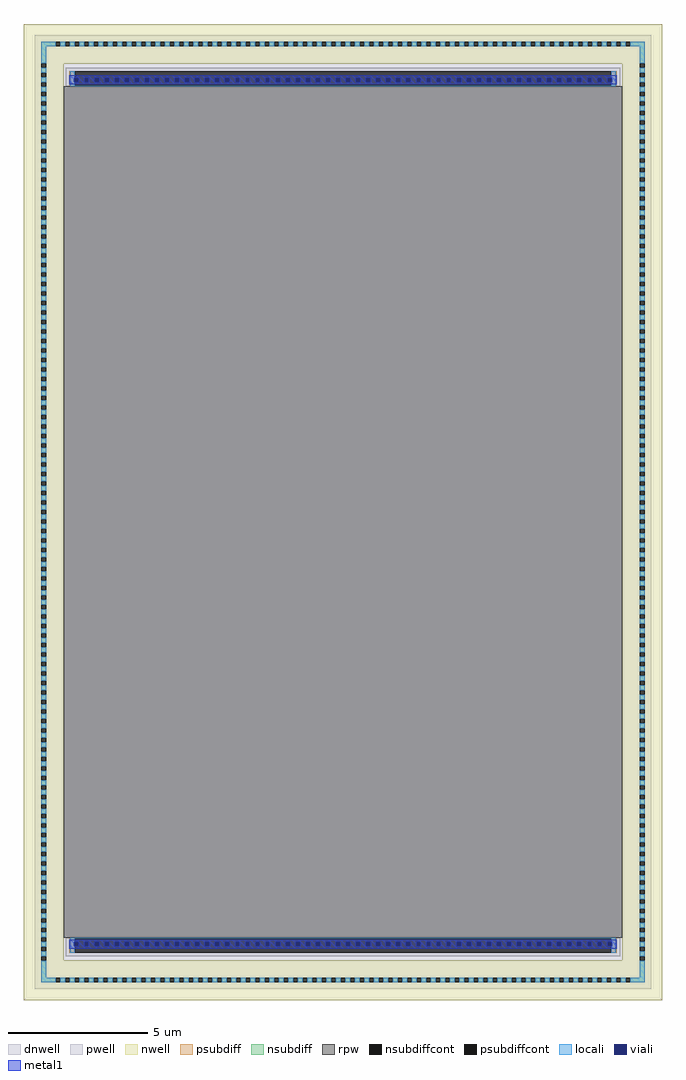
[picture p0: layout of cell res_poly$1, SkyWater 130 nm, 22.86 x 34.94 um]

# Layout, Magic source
magic
tech sky130A
magscale 1 2
<< dnwell >>
rect -2206 -3414 2206 3414
<< nwell >>
rect -2286 3208 2286 3494
rect -2286 -3208 -2000 3208
rect 2000 -3208 2286 3208
rect -2286 -3494 2286 -3208
<< pwell >>
rect -1986 3050 1986 3182
rect -1986 -3182 1986 -3050
<< rpw >>
rect -2000 -3050 2000 3050
<< psubdiff >>
rect -1960 3154 1960 3156
rect -1960 3052 -1921 3154
rect 1921 3052 1960 3154
rect -1960 3050 1960 3052
rect -1960 -3052 1960 -3050
rect -1960 -3154 -1921 -3052
rect 1921 -3154 1960 -3052
rect -1960 -3156 1960 -3154
<< nsubdiff >>
rect -2160 3334 -2057 3368
rect -2023 3334 -1989 3368
rect -1955 3334 -1921 3368
rect -1887 3334 -1853 3368
rect -1819 3334 -1785 3368
rect -1751 3334 -1717 3368
rect -1683 3334 -1649 3368
rect -1615 3334 -1581 3368
rect -1547 3334 -1513 3368
rect -1479 3334 -1445 3368
rect -1411 3334 -1377 3368
rect -1343 3334 -1309 3368
rect -1275 3334 -1241 3368
rect -1207 3334 -1173 3368
rect -1139 3334 -1105 3368
rect -1071 3334 -1037 3368
rect -1003 3334 -969 3368
rect -935 3334 -901 3368
rect -867 3334 -833 3368
rect -799 3334 -765 3368
rect -731 3334 -697 3368
rect -663 3334 -629 3368
rect -595 3334 -561 3368
rect -527 3334 -493 3368
rect -459 3334 -425 3368
rect -391 3334 -357 3368
rect -323 3334 -289 3368
rect -255 3334 -221 3368
rect -187 3334 -153 3368
rect -119 3334 -85 3368
rect -51 3334 -17 3368
rect 17 3334 51 3368
rect 85 3334 119 3368
rect 153 3334 187 3368
rect 221 3334 255 3368
rect 289 3334 323 3368
rect 357 3334 391 3368
rect 425 3334 459 3368
rect 493 3334 527 3368
rect 561 3334 595 3368
rect 629 3334 663 3368
rect 697 3334 731 3368
rect 765 3334 799 3368
rect 833 3334 867 3368
rect 901 3334 935 3368
rect 969 3334 1003 3368
rect 1037 3334 1071 3368
rect 1105 3334 1139 3368
rect 1173 3334 1207 3368
rect 1241 3334 1275 3368
rect 1309 3334 1343 3368
rect 1377 3334 1411 3368
rect 1445 3334 1479 3368
rect 1513 3334 1547 3368
rect 1581 3334 1615 3368
rect 1649 3334 1683 3368
rect 1717 3334 1751 3368
rect 1785 3334 1819 3368
rect 1853 3334 1887 3368
rect 1921 3334 1955 3368
rect 1989 3334 2023 3368
rect 2057 3334 2160 3368
rect -2160 3213 -2126 3334
rect -2160 3145 -2126 3179
rect 2126 3213 2160 3334
rect -2160 3077 -2126 3111
rect 2126 3145 2160 3179
rect 2126 3077 2160 3111
rect -2160 3009 -2126 3043
rect -2160 2941 -2126 2975
rect -2160 2873 -2126 2907
rect -2160 2805 -2126 2839
rect -2160 2737 -2126 2771
rect -2160 2669 -2126 2703
rect -2160 2601 -2126 2635
rect -2160 2533 -2126 2567
rect -2160 2465 -2126 2499
rect -2160 2397 -2126 2431
rect -2160 2329 -2126 2363
rect -2160 2261 -2126 2295
rect -2160 2193 -2126 2227
rect -2160 2125 -2126 2159
rect -2160 2057 -2126 2091
rect -2160 1989 -2126 2023
rect -2160 1921 -2126 1955
rect -2160 1853 -2126 1887
rect -2160 1785 -2126 1819
rect -2160 1717 -2126 1751
rect -2160 1649 -2126 1683
rect -2160 1581 -2126 1615
rect -2160 1513 -2126 1547
rect -2160 1445 -2126 1479
rect -2160 1377 -2126 1411
rect -2160 1309 -2126 1343
rect -2160 1241 -2126 1275
rect -2160 1173 -2126 1207
rect -2160 1105 -2126 1139
rect -2160 1037 -2126 1071
rect -2160 969 -2126 1003
rect -2160 901 -2126 935
rect -2160 833 -2126 867
rect -2160 765 -2126 799
rect -2160 697 -2126 731
rect -2160 629 -2126 663
rect -2160 561 -2126 595
rect -2160 493 -2126 527
rect -2160 425 -2126 459
rect -2160 357 -2126 391
rect -2160 289 -2126 323
rect -2160 221 -2126 255
rect -2160 153 -2126 187
rect -2160 85 -2126 119
rect -2160 17 -2126 51
rect -2160 -51 -2126 -17
rect -2160 -119 -2126 -85
rect -2160 -187 -2126 -153
rect -2160 -255 -2126 -221
rect -2160 -323 -2126 -289
rect -2160 -391 -2126 -357
rect -2160 -459 -2126 -425
rect -2160 -527 -2126 -493
rect -2160 -595 -2126 -561
rect -2160 -663 -2126 -629
rect -2160 -731 -2126 -697
rect -2160 -799 -2126 -765
rect -2160 -867 -2126 -833
rect -2160 -935 -2126 -901
rect -2160 -1003 -2126 -969
rect -2160 -1071 -2126 -1037
rect -2160 -1139 -2126 -1105
rect -2160 -1207 -2126 -1173
rect -2160 -1275 -2126 -1241
rect -2160 -1343 -2126 -1309
rect -2160 -1411 -2126 -1377
rect -2160 -1479 -2126 -1445
rect -2160 -1547 -2126 -1513
rect -2160 -1615 -2126 -1581
rect -2160 -1683 -2126 -1649
rect -2160 -1751 -2126 -1717
rect -2160 -1819 -2126 -1785
rect -2160 -1887 -2126 -1853
rect -2160 -1955 -2126 -1921
rect -2160 -2023 -2126 -1989
rect -2160 -2091 -2126 -2057
rect -2160 -2159 -2126 -2125
rect -2160 -2227 -2126 -2193
rect -2160 -2295 -2126 -2261
rect -2160 -2363 -2126 -2329
rect -2160 -2431 -2126 -2397
rect -2160 -2499 -2126 -2465
rect -2160 -2567 -2126 -2533
rect -2160 -2635 -2126 -2601
rect -2160 -2703 -2126 -2669
rect -2160 -2771 -2126 -2737
rect -2160 -2839 -2126 -2805
rect -2160 -2907 -2126 -2873
rect -2160 -2975 -2126 -2941
rect -2160 -3043 -2126 -3009
rect 2126 3009 2160 3043
rect 2126 2941 2160 2975
rect 2126 2873 2160 2907
rect 2126 2805 2160 2839
rect 2126 2737 2160 2771
rect 2126 2669 2160 2703
rect 2126 2601 2160 2635
rect 2126 2533 2160 2567
rect 2126 2465 2160 2499
rect 2126 2397 2160 2431
rect 2126 2329 2160 2363
rect 2126 2261 2160 2295
rect 2126 2193 2160 2227
rect 2126 2125 2160 2159
rect 2126 2057 2160 2091
rect 2126 1989 2160 2023
rect 2126 1921 2160 1955
rect 2126 1853 2160 1887
rect 2126 1785 2160 1819
rect 2126 1717 2160 1751
rect 2126 1649 2160 1683
rect 2126 1581 2160 1615
rect 2126 1513 2160 1547
rect 2126 1445 2160 1479
rect 2126 1377 2160 1411
rect 2126 1309 2160 1343
rect 2126 1241 2160 1275
rect 2126 1173 2160 1207
rect 2126 1105 2160 1139
rect 2126 1037 2160 1071
rect 2126 969 2160 1003
rect 2126 901 2160 935
rect 2126 833 2160 867
rect 2126 765 2160 799
rect 2126 697 2160 731
rect 2126 629 2160 663
rect 2126 561 2160 595
rect 2126 493 2160 527
rect 2126 425 2160 459
rect 2126 357 2160 391
rect 2126 289 2160 323
rect 2126 221 2160 255
rect 2126 153 2160 187
rect 2126 85 2160 119
rect 2126 17 2160 51
rect 2126 -51 2160 -17
rect 2126 -119 2160 -85
rect 2126 -187 2160 -153
rect 2126 -255 2160 -221
rect 2126 -323 2160 -289
rect 2126 -391 2160 -357
rect 2126 -459 2160 -425
rect 2126 -527 2160 -493
rect 2126 -595 2160 -561
rect 2126 -663 2160 -629
rect 2126 -731 2160 -697
rect 2126 -799 2160 -765
rect 2126 -867 2160 -833
rect 2126 -935 2160 -901
rect 2126 -1003 2160 -969
rect 2126 -1071 2160 -1037
rect 2126 -1139 2160 -1105
rect 2126 -1207 2160 -1173
rect 2126 -1275 2160 -1241
rect 2126 -1343 2160 -1309
rect 2126 -1411 2160 -1377
rect 2126 -1479 2160 -1445
rect 2126 -1547 2160 -1513
rect 2126 -1615 2160 -1581
rect 2126 -1683 2160 -1649
rect 2126 -1751 2160 -1717
rect 2126 -1819 2160 -1785
rect 2126 -1887 2160 -1853
rect 2126 -1955 2160 -1921
rect 2126 -2023 2160 -1989
rect 2126 -2091 2160 -2057
rect 2126 -2159 2160 -2125
rect 2126 -2227 2160 -2193
rect 2126 -2295 2160 -2261
rect 2126 -2363 2160 -2329
rect 2126 -2431 2160 -2397
rect 2126 -2499 2160 -2465
rect 2126 -2567 2160 -2533
rect 2126 -2635 2160 -2601
rect 2126 -2703 2160 -2669
rect 2126 -2771 2160 -2737
rect 2126 -2839 2160 -2805
rect 2126 -2907 2160 -2873
rect 2126 -2975 2160 -2941
rect 2126 -3043 2160 -3009
rect -2160 -3111 -2126 -3077
rect -2160 -3179 -2126 -3145
rect 2126 -3111 2160 -3077
rect -2160 -3334 -2126 -3213
rect 2126 -3179 2160 -3145
rect 2126 -3334 2160 -3213
rect -2160 -3368 -2057 -3334
rect -2023 -3368 -1989 -3334
rect -1955 -3368 -1921 -3334
rect -1887 -3368 -1853 -3334
rect -1819 -3368 -1785 -3334
rect -1751 -3368 -1717 -3334
rect -1683 -3368 -1649 -3334
rect -1615 -3368 -1581 -3334
rect -1547 -3368 -1513 -3334
rect -1479 -3368 -1445 -3334
rect -1411 -3368 -1377 -3334
rect -1343 -3368 -1309 -3334
rect -1275 -3368 -1241 -3334
rect -1207 -3368 -1173 -3334
rect -1139 -3368 -1105 -3334
rect -1071 -3368 -1037 -3334
rect -1003 -3368 -969 -3334
rect -935 -3368 -901 -3334
rect -867 -3368 -833 -3334
rect -799 -3368 -765 -3334
rect -731 -3368 -697 -3334
rect -663 -3368 -629 -3334
rect -595 -3368 -561 -3334
rect -527 -3368 -493 -3334
rect -459 -3368 -425 -3334
rect -391 -3368 -357 -3334
rect -323 -3368 -289 -3334
rect -255 -3368 -221 -3334
rect -187 -3368 -153 -3334
rect -119 -3368 -85 -3334
rect -51 -3368 -17 -3334
rect 17 -3368 51 -3334
rect 85 -3368 119 -3334
rect 153 -3368 187 -3334
rect 221 -3368 255 -3334
rect 289 -3368 323 -3334
rect 357 -3368 391 -3334
rect 425 -3368 459 -3334
rect 493 -3368 527 -3334
rect 561 -3368 595 -3334
rect 629 -3368 663 -3334
rect 697 -3368 731 -3334
rect 765 -3368 799 -3334
rect 833 -3368 867 -3334
rect 901 -3368 935 -3334
rect 969 -3368 1003 -3334
rect 1037 -3368 1071 -3334
rect 1105 -3368 1139 -3334
rect 1173 -3368 1207 -3334
rect 1241 -3368 1275 -3334
rect 1309 -3368 1343 -3334
rect 1377 -3368 1411 -3334
rect 1445 -3368 1479 -3334
rect 1513 -3368 1547 -3334
rect 1581 -3368 1615 -3334
rect 1649 -3368 1683 -3334
rect 1717 -3368 1751 -3334
rect 1785 -3368 1819 -3334
rect 1853 -3368 1887 -3334
rect 1921 -3368 1955 -3334
rect 1989 -3368 2023 -3334
rect 2057 -3368 2160 -3334
<< psubdiffcont >>
rect -1921 3052 1921 3154
rect -1921 -3154 1921 -3052
<< nsubdiffcont >>
rect -2057 3334 -2023 3368
rect -1989 3334 -1955 3368
rect -1921 3334 -1887 3368
rect -1853 3334 -1819 3368
rect -1785 3334 -1751 3368
rect -1717 3334 -1683 3368
rect -1649 3334 -1615 3368
rect -1581 3334 -1547 3368
rect -1513 3334 -1479 3368
rect -1445 3334 -1411 3368
rect -1377 3334 -1343 3368
rect -1309 3334 -1275 3368
rect -1241 3334 -1207 3368
rect -1173 3334 -1139 3368
rect -1105 3334 -1071 3368
rect -1037 3334 -1003 3368
rect -969 3334 -935 3368
rect -901 3334 -867 3368
rect -833 3334 -799 3368
rect -765 3334 -731 3368
rect -697 3334 -663 3368
rect -629 3334 -595 3368
rect -561 3334 -527 3368
rect -493 3334 -459 3368
rect -425 3334 -391 3368
rect -357 3334 -323 3368
rect -289 3334 -255 3368
rect -221 3334 -187 3368
rect -153 3334 -119 3368
rect -85 3334 -51 3368
rect -17 3334 17 3368
rect 51 3334 85 3368
rect 119 3334 153 3368
rect 187 3334 221 3368
rect 255 3334 289 3368
rect 323 3334 357 3368
rect 391 3334 425 3368
rect 459 3334 493 3368
rect 527 3334 561 3368
rect 595 3334 629 3368
rect 663 3334 697 3368
rect 731 3334 765 3368
rect 799 3334 833 3368
rect 867 3334 901 3368
rect 935 3334 969 3368
rect 1003 3334 1037 3368
rect 1071 3334 1105 3368
rect 1139 3334 1173 3368
rect 1207 3334 1241 3368
rect 1275 3334 1309 3368
rect 1343 3334 1377 3368
rect 1411 3334 1445 3368
rect 1479 3334 1513 3368
rect 1547 3334 1581 3368
rect 1615 3334 1649 3368
rect 1683 3334 1717 3368
rect 1751 3334 1785 3368
rect 1819 3334 1853 3368
rect 1887 3334 1921 3368
rect 1955 3334 1989 3368
rect 2023 3334 2057 3368
rect -2160 3179 -2126 3213
rect 2126 3179 2160 3213
rect -2160 3111 -2126 3145
rect -2160 3043 -2126 3077
rect 2126 3111 2160 3145
rect -2160 2975 -2126 3009
rect -2160 2907 -2126 2941
rect -2160 2839 -2126 2873
rect -2160 2771 -2126 2805
rect -2160 2703 -2126 2737
rect -2160 2635 -2126 2669
rect -2160 2567 -2126 2601
rect -2160 2499 -2126 2533
rect -2160 2431 -2126 2465
rect -2160 2363 -2126 2397
rect -2160 2295 -2126 2329
rect -2160 2227 -2126 2261
rect -2160 2159 -2126 2193
rect -2160 2091 -2126 2125
rect -2160 2023 -2126 2057
rect -2160 1955 -2126 1989
rect -2160 1887 -2126 1921
rect -2160 1819 -2126 1853
rect -2160 1751 -2126 1785
rect -2160 1683 -2126 1717
rect -2160 1615 -2126 1649
rect -2160 1547 -2126 1581
rect -2160 1479 -2126 1513
rect -2160 1411 -2126 1445
rect -2160 1343 -2126 1377
rect -2160 1275 -2126 1309
rect -2160 1207 -2126 1241
rect -2160 1139 -2126 1173
rect -2160 1071 -2126 1105
rect -2160 1003 -2126 1037
rect -2160 935 -2126 969
rect -2160 867 -2126 901
rect -2160 799 -2126 833
rect -2160 731 -2126 765
rect -2160 663 -2126 697
rect -2160 595 -2126 629
rect -2160 527 -2126 561
rect -2160 459 -2126 493
rect -2160 391 -2126 425
rect -2160 323 -2126 357
rect -2160 255 -2126 289
rect -2160 187 -2126 221
rect -2160 119 -2126 153
rect -2160 51 -2126 85
rect -2160 -17 -2126 17
rect -2160 -85 -2126 -51
rect -2160 -153 -2126 -119
rect -2160 -221 -2126 -187
rect -2160 -289 -2126 -255
rect -2160 -357 -2126 -323
rect -2160 -425 -2126 -391
rect -2160 -493 -2126 -459
rect -2160 -561 -2126 -527
rect -2160 -629 -2126 -595
rect -2160 -697 -2126 -663
rect -2160 -765 -2126 -731
rect -2160 -833 -2126 -799
rect -2160 -901 -2126 -867
rect -2160 -969 -2126 -935
rect -2160 -1037 -2126 -1003
rect -2160 -1105 -2126 -1071
rect -2160 -1173 -2126 -1139
rect -2160 -1241 -2126 -1207
rect -2160 -1309 -2126 -1275
rect -2160 -1377 -2126 -1343
rect -2160 -1445 -2126 -1411
rect -2160 -1513 -2126 -1479
rect -2160 -1581 -2126 -1547
rect -2160 -1649 -2126 -1615
rect -2160 -1717 -2126 -1683
rect -2160 -1785 -2126 -1751
rect -2160 -1853 -2126 -1819
rect -2160 -1921 -2126 -1887
rect -2160 -1989 -2126 -1955
rect -2160 -2057 -2126 -2023
rect -2160 -2125 -2126 -2091
rect -2160 -2193 -2126 -2159
rect -2160 -2261 -2126 -2227
rect -2160 -2329 -2126 -2295
rect -2160 -2397 -2126 -2363
rect -2160 -2465 -2126 -2431
rect -2160 -2533 -2126 -2499
rect -2160 -2601 -2126 -2567
rect -2160 -2669 -2126 -2635
rect -2160 -2737 -2126 -2703
rect -2160 -2805 -2126 -2771
rect -2160 -2873 -2126 -2839
rect -2160 -2941 -2126 -2907
rect -2160 -3009 -2126 -2975
rect -2160 -3077 -2126 -3043
rect 2126 3043 2160 3077
rect 2126 2975 2160 3009
rect 2126 2907 2160 2941
rect 2126 2839 2160 2873
rect 2126 2771 2160 2805
rect 2126 2703 2160 2737
rect 2126 2635 2160 2669
rect 2126 2567 2160 2601
rect 2126 2499 2160 2533
rect 2126 2431 2160 2465
rect 2126 2363 2160 2397
rect 2126 2295 2160 2329
rect 2126 2227 2160 2261
rect 2126 2159 2160 2193
rect 2126 2091 2160 2125
rect 2126 2023 2160 2057
rect 2126 1955 2160 1989
rect 2126 1887 2160 1921
rect 2126 1819 2160 1853
rect 2126 1751 2160 1785
rect 2126 1683 2160 1717
rect 2126 1615 2160 1649
rect 2126 1547 2160 1581
rect 2126 1479 2160 1513
rect 2126 1411 2160 1445
rect 2126 1343 2160 1377
rect 2126 1275 2160 1309
rect 2126 1207 2160 1241
rect 2126 1139 2160 1173
rect 2126 1071 2160 1105
rect 2126 1003 2160 1037
rect 2126 935 2160 969
rect 2126 867 2160 901
rect 2126 799 2160 833
rect 2126 731 2160 765
rect 2126 663 2160 697
rect 2126 595 2160 629
rect 2126 527 2160 561
rect 2126 459 2160 493
rect 2126 391 2160 425
rect 2126 323 2160 357
rect 2126 255 2160 289
rect 2126 187 2160 221
rect 2126 119 2160 153
rect 2126 51 2160 85
rect 2126 -17 2160 17
rect 2126 -85 2160 -51
rect 2126 -153 2160 -119
rect 2126 -221 2160 -187
rect 2126 -289 2160 -255
rect 2126 -357 2160 -323
rect 2126 -425 2160 -391
rect 2126 -493 2160 -459
rect 2126 -561 2160 -527
rect 2126 -629 2160 -595
rect 2126 -697 2160 -663
rect 2126 -765 2160 -731
rect 2126 -833 2160 -799
rect 2126 -901 2160 -867
rect 2126 -969 2160 -935
rect 2126 -1037 2160 -1003
rect 2126 -1105 2160 -1071
rect 2126 -1173 2160 -1139
rect 2126 -1241 2160 -1207
rect 2126 -1309 2160 -1275
rect 2126 -1377 2160 -1343
rect 2126 -1445 2160 -1411
rect 2126 -1513 2160 -1479
rect 2126 -1581 2160 -1547
rect 2126 -1649 2160 -1615
rect 2126 -1717 2160 -1683
rect 2126 -1785 2160 -1751
rect 2126 -1853 2160 -1819
rect 2126 -1921 2160 -1887
rect 2126 -1989 2160 -1955
rect 2126 -2057 2160 -2023
rect 2126 -2125 2160 -2091
rect 2126 -2193 2160 -2159
rect 2126 -2261 2160 -2227
rect 2126 -2329 2160 -2295
rect 2126 -2397 2160 -2363
rect 2126 -2465 2160 -2431
rect 2126 -2533 2160 -2499
rect 2126 -2601 2160 -2567
rect 2126 -2669 2160 -2635
rect 2126 -2737 2160 -2703
rect 2126 -2805 2160 -2771
rect 2126 -2873 2160 -2839
rect 2126 -2941 2160 -2907
rect 2126 -3009 2160 -2975
rect -2160 -3145 -2126 -3111
rect 2126 -3077 2160 -3043
rect 2126 -3145 2160 -3111
rect -2160 -3213 -2126 -3179
rect 2126 -3213 2160 -3179
rect -2057 -3368 -2023 -3334
rect -1989 -3368 -1955 -3334
rect -1921 -3368 -1887 -3334
rect -1853 -3368 -1819 -3334
rect -1785 -3368 -1751 -3334
rect -1717 -3368 -1683 -3334
rect -1649 -3368 -1615 -3334
rect -1581 -3368 -1547 -3334
rect -1513 -3368 -1479 -3334
rect -1445 -3368 -1411 -3334
rect -1377 -3368 -1343 -3334
rect -1309 -3368 -1275 -3334
rect -1241 -3368 -1207 -3334
rect -1173 -3368 -1139 -3334
rect -1105 -3368 -1071 -3334
rect -1037 -3368 -1003 -3334
rect -969 -3368 -935 -3334
rect -901 -3368 -867 -3334
rect -833 -3368 -799 -3334
rect -765 -3368 -731 -3334
rect -697 -3368 -663 -3334
rect -629 -3368 -595 -3334
rect -561 -3368 -527 -3334
rect -493 -3368 -459 -3334
rect -425 -3368 -391 -3334
rect -357 -3368 -323 -3334
rect -289 -3368 -255 -3334
rect -221 -3368 -187 -3334
rect -153 -3368 -119 -3334
rect -85 -3368 -51 -3334
rect -17 -3368 17 -3334
rect 51 -3368 85 -3334
rect 119 -3368 153 -3334
rect 187 -3368 221 -3334
rect 255 -3368 289 -3334
rect 323 -3368 357 -3334
rect 391 -3368 425 -3334
rect 459 -3368 493 -3334
rect 527 -3368 561 -3334
rect 595 -3368 629 -3334
rect 663 -3368 697 -3334
rect 731 -3368 765 -3334
rect 799 -3368 833 -3334
rect 867 -3368 901 -3334
rect 935 -3368 969 -3334
rect 1003 -3368 1037 -3334
rect 1071 -3368 1105 -3334
rect 1139 -3368 1173 -3334
rect 1207 -3368 1241 -3334
rect 1275 -3368 1309 -3334
rect 1343 -3368 1377 -3334
rect 1411 -3368 1445 -3334
rect 1479 -3368 1513 -3334
rect 1547 -3368 1581 -3334
rect 1615 -3368 1649 -3334
rect 1683 -3368 1717 -3334
rect 1751 -3368 1785 -3334
rect 1819 -3368 1853 -3334
rect 1887 -3368 1921 -3334
rect 1955 -3368 1989 -3334
rect 2023 -3368 2057 -3334
<< locali >>
rect -2160 3334 -2057 3368
rect -2023 3334 -1989 3368
rect -1955 3334 -1921 3368
rect -1887 3334 -1853 3368
rect -1819 3334 -1785 3368
rect -1751 3334 -1717 3368
rect -1683 3334 -1649 3368
rect -1615 3334 -1581 3368
rect -1547 3334 -1513 3368
rect -1479 3334 -1445 3368
rect -1411 3334 -1377 3368
rect -1343 3334 -1309 3368
rect -1275 3334 -1241 3368
rect -1207 3334 -1173 3368
rect -1139 3334 -1105 3368
rect -1071 3334 -1037 3368
rect -1003 3334 -969 3368
rect -935 3334 -901 3368
rect -867 3334 -833 3368
rect -799 3334 -765 3368
rect -731 3334 -697 3368
rect -663 3334 -629 3368
rect -595 3334 -561 3368
rect -527 3334 -493 3368
rect -459 3334 -425 3368
rect -391 3334 -357 3368
rect -323 3334 -289 3368
rect -255 3334 -221 3368
rect -187 3334 -153 3368
rect -119 3334 -85 3368
rect -51 3334 -17 3368
rect 17 3334 51 3368
rect 85 3334 119 3368
rect 153 3334 187 3368
rect 221 3334 255 3368
rect 289 3334 323 3368
rect 357 3334 391 3368
rect 425 3334 459 3368
rect 493 3334 527 3368
rect 561 3334 595 3368
rect 629 3334 663 3368
rect 697 3334 731 3368
rect 765 3334 799 3368
rect 833 3334 867 3368
rect 901 3334 935 3368
rect 969 3334 1003 3368
rect 1037 3334 1071 3368
rect 1105 3334 1139 3368
rect 1173 3334 1207 3368
rect 1241 3334 1275 3368
rect 1309 3334 1343 3368
rect 1377 3334 1411 3368
rect 1445 3334 1479 3368
rect 1513 3334 1547 3368
rect 1581 3334 1615 3368
rect 1649 3334 1683 3368
rect 1717 3334 1751 3368
rect 1785 3334 1819 3368
rect 1853 3334 1887 3368
rect 1921 3334 1955 3368
rect 1989 3334 2023 3368
rect 2057 3334 2160 3368
rect -2160 3213 -2126 3334
rect -2160 3145 -2126 3179
rect 2126 3213 2160 3334
rect -2160 3077 -2126 3111
rect -1952 3154 1952 3156
rect -1952 3110 -1921 3154
rect 1921 3110 1952 3154
rect -1952 3076 -1925 3110
rect 1925 3076 1952 3110
rect -1952 3052 -1921 3076
rect 1921 3052 1952 3076
rect -1952 3050 1952 3052
rect 2126 3145 2160 3179
rect 2126 3077 2160 3111
rect -2160 3009 -2126 3043
rect -2160 2941 -2126 2975
rect -2160 2873 -2126 2907
rect -2160 2805 -2126 2839
rect -2160 2737 -2126 2771
rect -2160 2669 -2126 2703
rect -2160 2601 -2126 2635
rect -2160 2533 -2126 2567
rect -2160 2465 -2126 2499
rect -2160 2397 -2126 2431
rect -2160 2329 -2126 2363
rect -2160 2261 -2126 2295
rect -2160 2193 -2126 2227
rect -2160 2125 -2126 2159
rect -2160 2057 -2126 2091
rect -2160 1989 -2126 2023
rect -2160 1921 -2126 1955
rect -2160 1853 -2126 1887
rect -2160 1785 -2126 1819
rect -2160 1717 -2126 1751
rect -2160 1649 -2126 1683
rect -2160 1581 -2126 1615
rect -2160 1513 -2126 1547
rect -2160 1445 -2126 1479
rect -2160 1377 -2126 1411
rect -2160 1309 -2126 1343
rect -2160 1241 -2126 1275
rect -2160 1173 -2126 1207
rect -2160 1105 -2126 1139
rect -2160 1037 -2126 1071
rect -2160 969 -2126 1003
rect -2160 901 -2126 935
rect -2160 833 -2126 867
rect -2160 765 -2126 799
rect -2160 697 -2126 731
rect -2160 629 -2126 663
rect -2160 561 -2126 595
rect -2160 493 -2126 527
rect -2160 425 -2126 459
rect -2160 357 -2126 391
rect -2160 289 -2126 323
rect -2160 221 -2126 255
rect -2160 153 -2126 187
rect -2160 85 -2126 119
rect -2160 17 -2126 51
rect -2160 -51 -2126 -17
rect -2160 -119 -2126 -85
rect -2160 -187 -2126 -153
rect -2160 -255 -2126 -221
rect -2160 -323 -2126 -289
rect -2160 -391 -2126 -357
rect -2160 -459 -2126 -425
rect -2160 -527 -2126 -493
rect -2160 -595 -2126 -561
rect -2160 -663 -2126 -629
rect -2160 -731 -2126 -697
rect -2160 -799 -2126 -765
rect -2160 -867 -2126 -833
rect -2160 -935 -2126 -901
rect -2160 -1003 -2126 -969
rect -2160 -1071 -2126 -1037
rect -2160 -1139 -2126 -1105
rect -2160 -1207 -2126 -1173
rect -2160 -1275 -2126 -1241
rect -2160 -1343 -2126 -1309
rect -2160 -1411 -2126 -1377
rect -2160 -1479 -2126 -1445
rect -2160 -1547 -2126 -1513
rect -2160 -1615 -2126 -1581
rect -2160 -1683 -2126 -1649
rect -2160 -1751 -2126 -1717
rect -2160 -1819 -2126 -1785
rect -2160 -1887 -2126 -1853
rect -2160 -1955 -2126 -1921
rect -2160 -2023 -2126 -1989
rect -2160 -2091 -2126 -2057
rect -2160 -2159 -2126 -2125
rect -2160 -2227 -2126 -2193
rect -2160 -2295 -2126 -2261
rect -2160 -2363 -2126 -2329
rect -2160 -2431 -2126 -2397
rect -2160 -2499 -2126 -2465
rect -2160 -2567 -2126 -2533
rect -2160 -2635 -2126 -2601
rect -2160 -2703 -2126 -2669
rect -2160 -2771 -2126 -2737
rect -2160 -2839 -2126 -2805
rect -2160 -2907 -2126 -2873
rect -2160 -2975 -2126 -2941
rect -2160 -3043 -2126 -3009
rect 2126 3009 2160 3043
rect 2126 2941 2160 2975
rect 2126 2873 2160 2907
rect 2126 2805 2160 2839
rect 2126 2737 2160 2771
rect 2126 2669 2160 2703
rect 2126 2601 2160 2635
rect 2126 2533 2160 2567
rect 2126 2465 2160 2499
rect 2126 2397 2160 2431
rect 2126 2329 2160 2363
rect 2126 2261 2160 2295
rect 2126 2193 2160 2227
rect 2126 2125 2160 2159
rect 2126 2057 2160 2091
rect 2126 1989 2160 2023
rect 2126 1921 2160 1955
rect 2126 1853 2160 1887
rect 2126 1785 2160 1819
rect 2126 1717 2160 1751
rect 2126 1649 2160 1683
rect 2126 1581 2160 1615
rect 2126 1513 2160 1547
rect 2126 1445 2160 1479
rect 2126 1377 2160 1411
rect 2126 1309 2160 1343
rect 2126 1241 2160 1275
rect 2126 1173 2160 1207
rect 2126 1105 2160 1139
rect 2126 1037 2160 1071
rect 2126 969 2160 1003
rect 2126 901 2160 935
rect 2126 833 2160 867
rect 2126 765 2160 799
rect 2126 697 2160 731
rect 2126 629 2160 663
rect 2126 561 2160 595
rect 2126 493 2160 527
rect 2126 425 2160 459
rect 2126 357 2160 391
rect 2126 289 2160 323
rect 2126 221 2160 255
rect 2126 153 2160 187
rect 2126 85 2160 119
rect 2126 17 2160 51
rect 2126 -51 2160 -17
rect 2126 -119 2160 -85
rect 2126 -187 2160 -153
rect 2126 -255 2160 -221
rect 2126 -323 2160 -289
rect 2126 -391 2160 -357
rect 2126 -459 2160 -425
rect 2126 -527 2160 -493
rect 2126 -595 2160 -561
rect 2126 -663 2160 -629
rect 2126 -731 2160 -697
rect 2126 -799 2160 -765
rect 2126 -867 2160 -833
rect 2126 -935 2160 -901
rect 2126 -1003 2160 -969
rect 2126 -1071 2160 -1037
rect 2126 -1139 2160 -1105
rect 2126 -1207 2160 -1173
rect 2126 -1275 2160 -1241
rect 2126 -1343 2160 -1309
rect 2126 -1411 2160 -1377
rect 2126 -1479 2160 -1445
rect 2126 -1547 2160 -1513
rect 2126 -1615 2160 -1581
rect 2126 -1683 2160 -1649
rect 2126 -1751 2160 -1717
rect 2126 -1819 2160 -1785
rect 2126 -1887 2160 -1853
rect 2126 -1955 2160 -1921
rect 2126 -2023 2160 -1989
rect 2126 -2091 2160 -2057
rect 2126 -2159 2160 -2125
rect 2126 -2227 2160 -2193
rect 2126 -2295 2160 -2261
rect 2126 -2363 2160 -2329
rect 2126 -2431 2160 -2397
rect 2126 -2499 2160 -2465
rect 2126 -2567 2160 -2533
rect 2126 -2635 2160 -2601
rect 2126 -2703 2160 -2669
rect 2126 -2771 2160 -2737
rect 2126 -2839 2160 -2805
rect 2126 -2907 2160 -2873
rect 2126 -2975 2160 -2941
rect 2126 -3043 2160 -3009
rect -2160 -3111 -2126 -3077
rect -2160 -3179 -2126 -3145
rect -1952 -3052 1952 -3050
rect -1952 -3076 -1921 -3052
rect 1921 -3076 1952 -3052
rect -1952 -3110 -1925 -3076
rect 1925 -3110 1952 -3076
rect -1952 -3154 -1921 -3110
rect 1921 -3154 1952 -3110
rect -1952 -3156 1952 -3154
rect 2126 -3111 2160 -3077
rect -2160 -3334 -2126 -3213
rect 2126 -3179 2160 -3145
rect 2126 -3334 2160 -3213
rect -2160 -3368 -2057 -3334
rect -2023 -3368 -1989 -3334
rect -1955 -3368 -1921 -3334
rect -1887 -3368 -1853 -3334
rect -1819 -3368 -1785 -3334
rect -1751 -3368 -1717 -3334
rect -1683 -3368 -1649 -3334
rect -1615 -3368 -1581 -3334
rect -1547 -3368 -1513 -3334
rect -1479 -3368 -1445 -3334
rect -1411 -3368 -1377 -3334
rect -1343 -3368 -1309 -3334
rect -1275 -3368 -1241 -3334
rect -1207 -3368 -1173 -3334
rect -1139 -3368 -1105 -3334
rect -1071 -3368 -1037 -3334
rect -1003 -3368 -969 -3334
rect -935 -3368 -901 -3334
rect -867 -3368 -833 -3334
rect -799 -3368 -765 -3334
rect -731 -3368 -697 -3334
rect -663 -3368 -629 -3334
rect -595 -3368 -561 -3334
rect -527 -3368 -493 -3334
rect -459 -3368 -425 -3334
rect -391 -3368 -357 -3334
rect -323 -3368 -289 -3334
rect -255 -3368 -221 -3334
rect -187 -3368 -153 -3334
rect -119 -3368 -85 -3334
rect -51 -3368 -17 -3334
rect 17 -3368 51 -3334
rect 85 -3368 119 -3334
rect 153 -3368 187 -3334
rect 221 -3368 255 -3334
rect 289 -3368 323 -3334
rect 357 -3368 391 -3334
rect 425 -3368 459 -3334
rect 493 -3368 527 -3334
rect 561 -3368 595 -3334
rect 629 -3368 663 -3334
rect 697 -3368 731 -3334
rect 765 -3368 799 -3334
rect 833 -3368 867 -3334
rect 901 -3368 935 -3334
rect 969 -3368 1003 -3334
rect 1037 -3368 1071 -3334
rect 1105 -3368 1139 -3334
rect 1173 -3368 1207 -3334
rect 1241 -3368 1275 -3334
rect 1309 -3368 1343 -3334
rect 1377 -3368 1411 -3334
rect 1445 -3368 1479 -3334
rect 1513 -3368 1547 -3334
rect 1581 -3368 1615 -3334
rect 1649 -3368 1683 -3334
rect 1717 -3368 1751 -3334
rect 1785 -3368 1819 -3334
rect 1853 -3368 1887 -3334
rect 1921 -3368 1955 -3334
rect 1989 -3368 2023 -3334
rect 2057 -3368 2160 -3334
<< viali >>
rect -1925 3076 -1921 3110
rect -1921 3076 -1891 3110
rect -1853 3076 -1819 3110
rect -1781 3076 -1747 3110
rect -1709 3076 -1675 3110
rect -1637 3076 -1603 3110
rect -1565 3076 -1531 3110
rect -1493 3076 -1459 3110
rect -1421 3076 -1387 3110
rect -1349 3076 -1315 3110
rect -1277 3076 -1243 3110
rect -1205 3076 -1171 3110
rect -1133 3076 -1099 3110
rect -1061 3076 -1027 3110
rect -989 3076 -955 3110
rect -917 3076 -883 3110
rect -845 3076 -811 3110
rect -773 3076 -739 3110
rect -701 3076 -667 3110
rect -629 3076 -595 3110
rect -557 3076 -523 3110
rect -485 3076 -451 3110
rect -413 3076 -379 3110
rect -341 3076 -307 3110
rect -269 3076 -235 3110
rect -197 3076 -163 3110
rect -125 3076 -91 3110
rect -53 3076 -19 3110
rect 19 3076 53 3110
rect 91 3076 125 3110
rect 163 3076 197 3110
rect 235 3076 269 3110
rect 307 3076 341 3110
rect 379 3076 413 3110
rect 451 3076 485 3110
rect 523 3076 557 3110
rect 595 3076 629 3110
rect 667 3076 701 3110
rect 739 3076 773 3110
rect 811 3076 845 3110
rect 883 3076 917 3110
rect 955 3076 989 3110
rect 1027 3076 1061 3110
rect 1099 3076 1133 3110
rect 1171 3076 1205 3110
rect 1243 3076 1277 3110
rect 1315 3076 1349 3110
rect 1387 3076 1421 3110
rect 1459 3076 1493 3110
rect 1531 3076 1565 3110
rect 1603 3076 1637 3110
rect 1675 3076 1709 3110
rect 1747 3076 1781 3110
rect 1819 3076 1853 3110
rect 1891 3076 1921 3110
rect 1921 3076 1925 3110
rect -1925 -3110 -1921 -3076
rect -1921 -3110 -1891 -3076
rect -1853 -3110 -1819 -3076
rect -1781 -3110 -1747 -3076
rect -1709 -3110 -1675 -3076
rect -1637 -3110 -1603 -3076
rect -1565 -3110 -1531 -3076
rect -1493 -3110 -1459 -3076
rect -1421 -3110 -1387 -3076
rect -1349 -3110 -1315 -3076
rect -1277 -3110 -1243 -3076
rect -1205 -3110 -1171 -3076
rect -1133 -3110 -1099 -3076
rect -1061 -3110 -1027 -3076
rect -989 -3110 -955 -3076
rect -917 -3110 -883 -3076
rect -845 -3110 -811 -3076
rect -773 -3110 -739 -3076
rect -701 -3110 -667 -3076
rect -629 -3110 -595 -3076
rect -557 -3110 -523 -3076
rect -485 -3110 -451 -3076
rect -413 -3110 -379 -3076
rect -341 -3110 -307 -3076
rect -269 -3110 -235 -3076
rect -197 -3110 -163 -3076
rect -125 -3110 -91 -3076
rect -53 -3110 -19 -3076
rect 19 -3110 53 -3076
rect 91 -3110 125 -3076
rect 163 -3110 197 -3076
rect 235 -3110 269 -3076
rect 307 -3110 341 -3076
rect 379 -3110 413 -3076
rect 451 -3110 485 -3076
rect 523 -3110 557 -3076
rect 595 -3110 629 -3076
rect 667 -3110 701 -3076
rect 739 -3110 773 -3076
rect 811 -3110 845 -3076
rect 883 -3110 917 -3076
rect 955 -3110 989 -3076
rect 1027 -3110 1061 -3076
rect 1099 -3110 1133 -3076
rect 1171 -3110 1205 -3076
rect 1243 -3110 1277 -3076
rect 1315 -3110 1349 -3076
rect 1387 -3110 1421 -3076
rect 1459 -3110 1493 -3076
rect 1531 -3110 1565 -3076
rect 1603 -3110 1637 -3076
rect 1675 -3110 1709 -3076
rect 1747 -3110 1781 -3076
rect 1819 -3110 1853 -3076
rect 1891 -3110 1921 -3076
rect 1921 -3110 1925 -3076
<< metal1 >>
rect -1960 3110 1960 3126
rect -1960 3076 -1925 3110
rect -1891 3076 -1853 3110
rect -1819 3076 -1781 3110
rect -1747 3076 -1709 3110
rect -1675 3076 -1637 3110
rect -1603 3076 -1565 3110
rect -1531 3076 -1493 3110
rect -1459 3076 -1421 3110
rect -1387 3076 -1349 3110
rect -1315 3076 -1277 3110
rect -1243 3076 -1205 3110
rect -1171 3076 -1133 3110
rect -1099 3076 -1061 3110
rect -1027 3076 -989 3110
rect -955 3076 -917 3110
rect -883 3076 -845 3110
rect -811 3076 -773 3110
rect -739 3076 -701 3110
rect -667 3076 -629 3110
rect -595 3076 -557 3110
rect -523 3076 -485 3110
rect -451 3076 -413 3110
rect -379 3076 -341 3110
rect -307 3076 -269 3110
rect -235 3076 -197 3110
rect -163 3076 -125 3110
rect -91 3076 -53 3110
rect -19 3076 19 3110
rect 53 3076 91 3110
rect 125 3076 163 3110
rect 197 3076 235 3110
rect 269 3076 307 3110
rect 341 3076 379 3110
rect 413 3076 451 3110
rect 485 3076 523 3110
rect 557 3076 595 3110
rect 629 3076 667 3110
rect 701 3076 739 3110
rect 773 3076 811 3110
rect 845 3076 883 3110
rect 917 3076 955 3110
rect 989 3076 1027 3110
rect 1061 3076 1099 3110
rect 1133 3076 1171 3110
rect 1205 3076 1243 3110
rect 1277 3076 1315 3110
rect 1349 3076 1387 3110
rect 1421 3076 1459 3110
rect 1493 3076 1531 3110
rect 1565 3076 1603 3110
rect 1637 3076 1675 3110
rect 1709 3076 1747 3110
rect 1781 3076 1819 3110
rect 1853 3076 1891 3110
rect 1925 3076 1960 3110
rect -1960 3061 1960 3076
rect -1960 -3076 1960 -3061
rect -1960 -3110 -1925 -3076
rect -1891 -3110 -1853 -3076
rect -1819 -3110 -1781 -3076
rect -1747 -3110 -1709 -3076
rect -1675 -3110 -1637 -3076
rect -1603 -3110 -1565 -3076
rect -1531 -3110 -1493 -3076
rect -1459 -3110 -1421 -3076
rect -1387 -3110 -1349 -3076
rect -1315 -3110 -1277 -3076
rect -1243 -3110 -1205 -3076
rect -1171 -3110 -1133 -3076
rect -1099 -3110 -1061 -3076
rect -1027 -3110 -989 -3076
rect -955 -3110 -917 -3076
rect -883 -3110 -845 -3076
rect -811 -3110 -773 -3076
rect -739 -3110 -701 -3076
rect -667 -3110 -629 -3076
rect -595 -3110 -557 -3076
rect -523 -3110 -485 -3076
rect -451 -3110 -413 -3076
rect -379 -3110 -341 -3076
rect -307 -3110 -269 -3076
rect -235 -3110 -197 -3076
rect -163 -3110 -125 -3076
rect -91 -3110 -53 -3076
rect -19 -3110 19 -3076
rect 53 -3110 91 -3076
rect 125 -3110 163 -3076
rect 197 -3110 235 -3076
rect 269 -3110 307 -3076
rect 341 -3110 379 -3076
rect 413 -3110 451 -3076
rect 485 -3110 523 -3076
rect 557 -3110 595 -3076
rect 629 -3110 667 -3076
rect 701 -3110 739 -3076
rect 773 -3110 811 -3076
rect 845 -3110 883 -3076
rect 917 -3110 955 -3076
rect 989 -3110 1027 -3076
rect 1061 -3110 1099 -3076
rect 1133 -3110 1171 -3076
rect 1205 -3110 1243 -3076
rect 1277 -3110 1315 -3076
rect 1349 -3110 1387 -3076
rect 1421 -3110 1459 -3076
rect 1493 -3110 1531 -3076
rect 1565 -3110 1603 -3076
rect 1637 -3110 1675 -3076
rect 1709 -3110 1747 -3076
rect 1781 -3110 1819 -3076
rect 1853 -3110 1891 -3076
rect 1925 -3110 1960 -3076
rect -1960 -3126 1960 -3110
<< end >>
